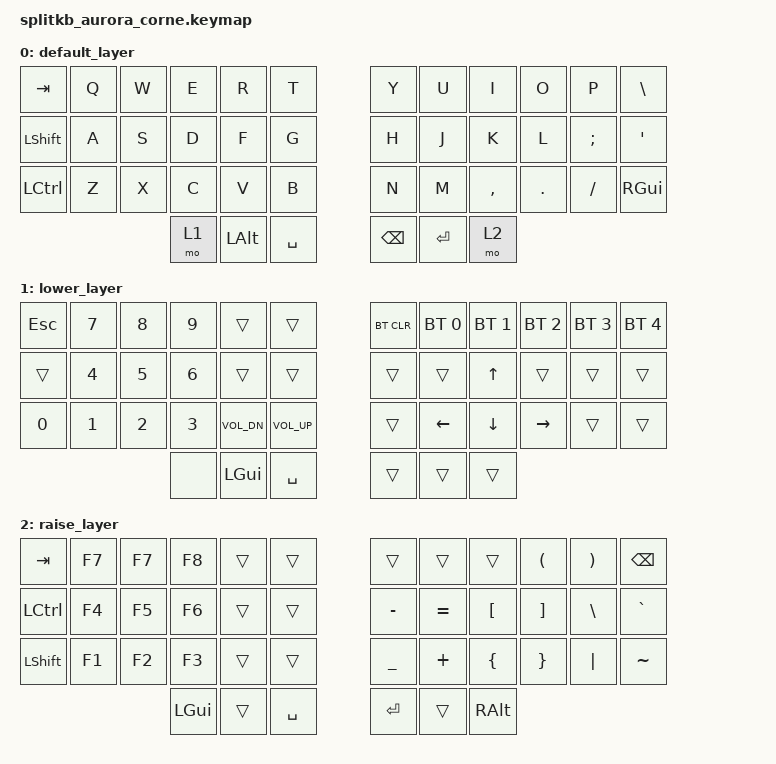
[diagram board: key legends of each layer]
/*
 * Copyright (c) 2020 The ZMK Contributors
 *
 * SPDX-License-Identifier: MIT
 */

#include <behaviors.dtsi>
#include <dt-bindings/zmk/bt.h>
#include <dt-bindings/zmk/keys.h>

/ {
    keymap {
        compatible = "zmk,keymap";

        default_layer {
            // -----------------------------------------------------------------------------------------
            // |  TAB |  Q  |  W  |  E  |  R  |  T  |   |  Y  |  U   |  I  |  O  |  P  | BSPC |
            // | CTRL |  A  |  S  |  D  |  F  |  G  |   |  H  |  J   |  K  |  L  |  ;  |  '   |
            // | SHFT |  Z  |  X  |  C  |  V  |  B  |   |  N  |  M   |  ,  |  .  |  /  | ESC  |
            //                    | GUI | LWR | SPC |   | ENT | RSE  | ALT |

            bindings = <
&kp TAB     &kp Q  &kp W  &kp E  &kp R         &kp T        &kp Y     &kp U      &kp I      &kp O    &kp P     &kp BACKSLASH
&kp LSHIFT  &kp A  &kp S  &kp D  &kp F         &kp G        &kp H     &kp J      &kp K      &kp L    &kp SEMI  &kp SQT
&kp LCTRL   &kp Z  &kp X  &kp C  &kp V         &kp B        &kp N     &kp M      &kp COMMA  &kp DOT  &kp FSLH  &kp RIGHT_GUI
                          &mo 1  &kp LEFT_ALT  &kp SPACE    &kp BSPC  &kp ENTER  &mo 2
            >;
        };

        lower_layer {
            // -----------------------------------------------------------------------------------------
            // |  TAB |  1  |  2  |  3  |  4  |  5  |   |  6  |  7  |  8  |  9  |  0  | BSPC |
            // | BTCLR| BT1 | BT2 | BT3 | BT4 | BT5 |   | LFT | DWN |  UP | RGT |     |      |
            // | SHFT |     |     |     |     |     |   |     |     |     |     |     |      |
            //                    | GUI |     | SPC |   | ENT |     | ALT |

            bindings = <
&kp ESCAPE  &kp N7        &kp N8        &kp N9        &trans        &trans             &bt BT_CLR  &bt BT_SEL 0  &bt BT_SEL 1  &bt BT_SEL 2  &bt BT_SEL 3  &bt BT_SEL 4
&trans      &kp NUMBER_4  &kp N5        &kp NUMBER_6  &trans        &trans             &trans      &trans        &kp UP        &trans        &trans        &trans
&kp N0      &kp NUMBER_1  &kp NUMBER_2  &kp NUMBER_3  &kp C_VOL_DN  &kp C_VOLUME_UP    &trans      &kp LEFT      &kp DOWN      &kp RIGHT     &trans        &trans
                                        &none         &kp LEFT_GUI  &kp SPACE          &trans      &trans        &trans
            >;
        };

        raise_layer {
            // -----------------------------------------------------------------------------------------
            // |  TAB |  !  |  @  |  #  |  $  |  %  |   |  ^  |  &  |  *  |  (  |  )  | BSPC |
            // | CTRL |     |     |     |     |     |   |  -  |  =  |  [  |  ]  |  \  |  `   |
            // | SHFT |     |     |     |     |     |   |  _  |  +  |  {  |  }  | "|" |  ~   |
            //                    | GUI |     | SPC |   | ENT |     | ALT |

            bindings = <
&kp TAB    &kp F7  &kp F7  &kp F8    &trans  &trans       &trans     &trans     &trans    &kp LPAR  &kp RPAR  &kp BSPC
&kp LCTRL  &kp F4  &kp F5  &kp F6    &trans  &trans       &kp MINUS  &kp EQUAL  &kp LBKT  &kp RBKT  &kp BSLH  &kp GRAVE
&kp LSHFT  &kp F1  &kp F2  &kp F3    &trans  &trans       &kp UNDER  &kp PLUS   &kp LBRC  &kp RBRC  &kp PIPE  &kp TILDE
                           &kp LGUI  &trans  &kp SPACE    &kp RET    &trans     &kp RALT
            >;
        };
    };
};
